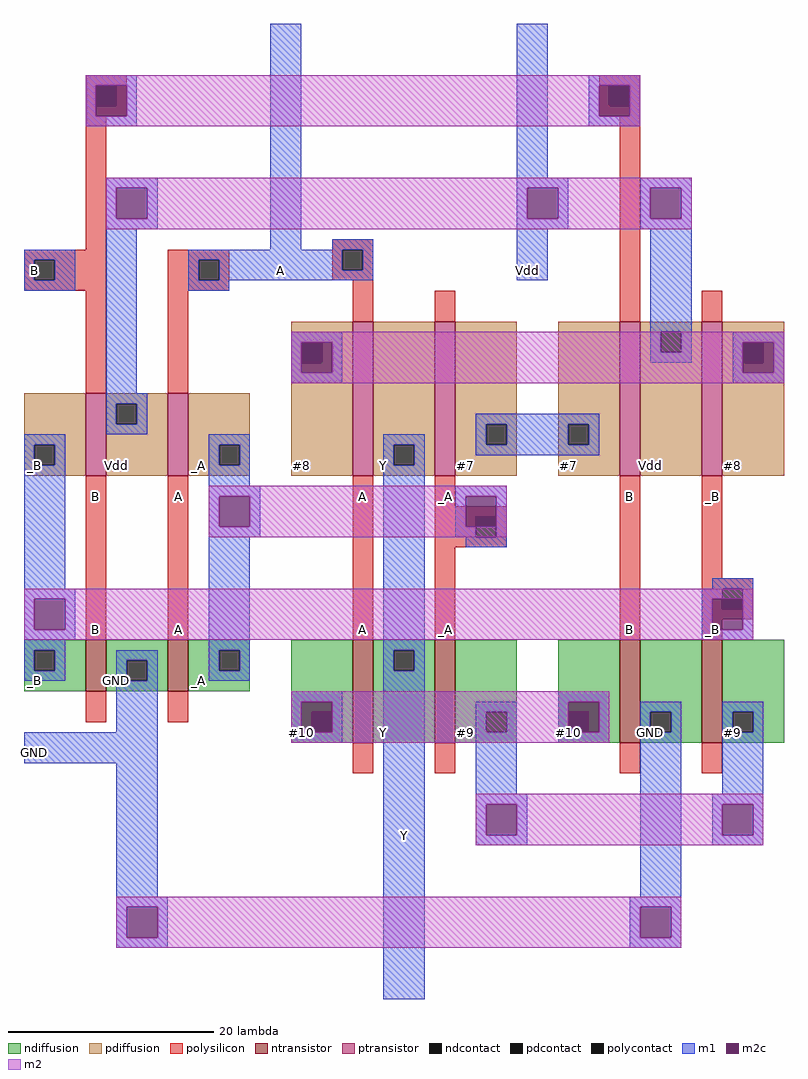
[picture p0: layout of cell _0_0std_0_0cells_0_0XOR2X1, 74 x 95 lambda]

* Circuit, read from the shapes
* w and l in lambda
.subckt _0_0std_0_0cells_0_0XOR2X1 Vdd
M1 GND B _B VSUBS nfet w=5 l=2
M2 _A A GND VSUBS nfet w=5 l=2
M3 Y A #10 VSUBS nfet w=10 l=2
M4 #9 _A Y VSUBS nfet w=10 l=2
M5 GND B #10 VSUBS nfet w=10 l=2
M6 #9 _B GND VSUBS nfet w=10 l=2
M7 Vdd B _B NWELL pfet w=8 l=2
M8 _A A Vdd NWELL pfet w=8 l=2
M9 Y A #8 NWELL pfet w=15 l=2
M10 #7 _A Y NWELL pfet w=15 l=2
M11 Vdd B #7 NWELL pfet w=15 l=2
M12 #8 _B Vdd NWELL pfet w=15 l=2
.ends

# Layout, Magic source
magic
tech TSMC180
<< ndiffusion >>
rect 6 21 12 22
rect 6 19 7 21
rect 9 19 12 21
rect 6 17 12 19
rect 14 20 20 22
rect 14 18 16 20
rect 18 18 20 20
rect 14 17 20 18
rect 22 21 28 22
rect 22 19 25 21
rect 27 19 28 21
rect 22 17 28 19
rect 32 15 38 22
rect 32 13 34 15
rect 36 13 38 15
rect 32 12 38 13
rect 40 21 46 22
rect 40 19 42 21
rect 44 19 46 21
rect 40 12 46 19
rect 48 15 54 22
rect 48 13 51 15
rect 53 13 54 15
rect 48 12 54 13
rect 58 15 64 22
rect 58 13 59 15
rect 61 13 64 15
rect 58 12 64 13
rect 66 15 72 22
rect 66 13 67 15
rect 69 13 72 15
rect 66 12 72 13
rect 74 15 80 22
rect 74 13 75 15
rect 77 13 80 15
rect 74 12 80 13
<< ndcontact >>
rect 7 19 9 21
rect 16 18 18 20
rect 25 19 27 21
rect 34 13 36 15
rect 42 19 44 21
rect 51 13 53 15
rect 59 13 61 15
rect 67 13 69 15
rect 75 13 77 15
<< ntransistor >>
rect 12 17 14 22
rect 20 17 22 22
rect 38 12 40 22
rect 46 12 48 22
rect 64 12 66 22
rect 72 12 74 22
<< pdiffusion >>
rect 32 51 38 53
rect 32 49 33 51
rect 35 49 38 51
rect 6 41 12 46
rect 6 39 7 41
rect 9 39 12 41
rect 6 38 12 39
rect 14 45 20 46
rect 14 43 15 45
rect 17 43 20 45
rect 14 38 20 43
rect 22 41 28 46
rect 22 39 25 41
rect 27 39 28 41
rect 22 38 28 39
rect 32 38 38 49
rect 40 41 46 53
rect 40 39 42 41
rect 44 39 46 41
rect 40 38 46 39
rect 48 43 54 53
rect 48 41 51 43
rect 53 41 54 43
rect 48 38 54 41
rect 58 43 64 53
rect 58 41 59 43
rect 61 41 64 43
rect 58 38 64 41
rect 66 52 72 53
rect 66 50 68 52
rect 70 50 72 52
rect 66 38 72 50
rect 74 51 80 53
rect 74 49 76 51
rect 78 49 80 51
rect 74 38 80 49
<< pdcontact >>
rect 33 49 35 51
rect 7 39 9 41
rect 15 43 17 45
rect 25 39 27 41
rect 42 39 44 41
rect 51 41 53 43
rect 59 41 61 43
rect 68 50 70 52
rect 76 49 78 51
<< ptransistor >>
rect 12 38 14 46
rect 20 38 22 46
rect 38 38 40 53
rect 46 38 48 53
rect 64 38 66 53
rect 72 38 74 53
<< polysilicon >>
rect 12 76 16 77
rect 12 74 13 76
rect 15 74 16 76
rect 12 73 16 74
rect 62 76 66 77
rect 62 74 63 76
rect 65 74 66 76
rect 62 73 66 74
rect 12 60 14 73
rect 36 60 40 61
rect 6 59 14 60
rect 6 57 7 59
rect 9 57 14 59
rect 6 56 14 57
rect 12 46 14 56
rect 20 59 26 60
rect 20 57 23 59
rect 25 57 26 59
rect 36 58 37 60
rect 39 58 40 60
rect 36 57 40 58
rect 20 56 26 57
rect 20 46 22 56
rect 38 53 40 57
rect 46 53 48 56
rect 64 53 66 73
rect 72 53 74 56
rect 12 22 14 38
rect 20 22 22 38
rect 38 22 40 38
rect 46 35 48 38
rect 46 34 53 35
rect 46 32 50 34
rect 52 32 53 34
rect 46 31 53 32
rect 46 22 48 31
rect 64 22 66 38
rect 72 28 74 38
rect 72 27 77 28
rect 72 25 74 27
rect 76 25 77 27
rect 72 24 77 25
rect 72 22 74 24
rect 12 14 14 17
rect 20 14 22 17
rect 38 9 40 12
rect 46 9 48 12
rect 64 9 66 12
rect 72 9 74 12
<< polycontact >>
rect 13 74 15 76
rect 63 74 65 76
rect 7 57 9 59
rect 23 57 25 59
rect 37 58 39 60
rect 50 32 52 34
rect 74 25 76 27
<< m1 >>
rect 12 76 17 77
rect 12 73 13 76
rect 16 73 17 76
rect 12 72 17 73
rect 14 66 19 67
rect 14 63 15 66
rect 18 63 19 66
rect 14 62 19 63
rect 6 59 11 60
rect 6 57 7 59
rect 9 57 11 59
rect 6 56 11 57
rect 14 46 17 62
rect 30 60 33 82
rect 54 67 57 82
rect 61 76 66 77
rect 61 73 62 76
rect 65 73 66 76
rect 61 72 66 73
rect 54 66 59 67
rect 54 63 55 66
rect 58 63 59 66
rect 54 62 59 63
rect 66 66 71 67
rect 66 63 67 66
rect 70 63 71 66
rect 66 62 71 63
rect 36 60 40 61
rect 22 59 37 60
rect 22 57 23 59
rect 25 58 37 59
rect 39 58 40 60
rect 25 57 40 58
rect 54 57 57 62
rect 22 56 26 57
rect 67 52 71 62
rect 32 51 37 52
rect 32 48 33 51
rect 36 48 37 51
rect 67 50 68 52
rect 70 50 71 52
rect 67 49 71 50
rect 75 51 80 52
rect 32 47 37 48
rect 75 48 76 51
rect 79 48 80 51
rect 75 47 80 48
rect 14 45 18 46
rect 14 43 15 45
rect 17 43 18 45
rect 14 42 18 43
rect 50 43 62 44
rect 6 41 10 42
rect 6 39 7 41
rect 9 39 10 41
rect 6 27 10 39
rect 24 41 28 42
rect 24 39 25 41
rect 27 39 28 41
rect 24 37 28 39
rect 41 41 45 42
rect 41 39 42 41
rect 44 39 45 41
rect 50 41 51 43
rect 53 41 59 43
rect 61 41 62 43
rect 50 40 62 41
rect 24 36 29 37
rect 24 33 25 36
rect 28 33 29 36
rect 24 32 29 33
rect 6 26 11 27
rect 6 23 7 26
rect 10 23 11 26
rect 6 22 11 23
rect 6 21 10 22
rect 24 21 28 32
rect 6 19 7 21
rect 9 19 10 21
rect 6 18 10 19
rect 15 20 19 21
rect 15 18 16 20
rect 18 18 19 20
rect 24 19 25 21
rect 27 19 28 21
rect 24 18 28 19
rect 41 21 45 39
rect 48 36 53 37
rect 48 33 49 36
rect 48 32 50 33
rect 52 32 53 36
rect 49 31 53 32
rect 73 27 77 28
rect 72 26 74 27
rect 72 23 73 26
rect 76 23 77 27
rect 72 22 77 23
rect 41 19 42 21
rect 44 19 45 21
rect 15 13 19 18
rect 6 10 19 13
rect 32 16 37 17
rect 32 13 33 16
rect 36 13 37 16
rect 32 12 37 13
rect 15 -3 19 10
rect 15 -4 20 -3
rect 15 -7 16 -4
rect 19 -7 20 -4
rect 15 -8 20 -7
rect 41 -13 45 19
rect 58 16 63 17
rect 50 15 54 16
rect 50 13 51 15
rect 53 13 54 15
rect 50 7 54 13
rect 58 13 59 16
rect 62 13 63 16
rect 58 12 63 13
rect 66 15 70 16
rect 66 13 67 15
rect 69 13 70 15
rect 50 6 55 7
rect 50 3 51 6
rect 54 3 55 6
rect 50 2 55 3
rect 66 -3 70 13
rect 74 15 78 16
rect 74 13 75 15
rect 77 13 78 15
rect 74 7 78 13
rect 73 6 78 7
rect 73 3 74 6
rect 77 3 78 6
rect 73 2 78 3
rect 65 -4 70 -3
rect 65 -7 66 -4
rect 69 -7 70 -4
rect 65 -8 70 -7
<< m2c >>
rect 13 74 15 76
rect 15 74 16 76
rect 13 73 16 74
rect 15 63 18 66
rect 62 74 63 76
rect 63 74 65 76
rect 62 73 65 74
rect 55 63 58 66
rect 67 63 70 66
rect 33 49 35 51
rect 35 49 36 51
rect 33 48 36 49
rect 76 49 78 51
rect 78 49 79 51
rect 76 48 79 49
rect 25 33 28 36
rect 7 23 10 26
rect 49 34 52 36
rect 49 33 50 34
rect 50 33 52 34
rect 73 25 74 26
rect 74 25 76 26
rect 73 23 76 25
rect 33 15 36 16
rect 33 13 34 15
rect 34 13 36 15
rect 16 -7 19 -4
rect 59 15 62 16
rect 59 13 61 15
rect 61 13 62 15
rect 51 3 54 6
rect 74 3 77 6
rect 66 -7 69 -4
<< m2 >>
rect 12 76 66 77
rect 12 73 13 76
rect 16 73 62 76
rect 65 73 66 76
rect 12 72 66 73
rect 14 66 71 67
rect 14 63 15 66
rect 18 63 55 66
rect 58 63 67 66
rect 70 63 71 66
rect 14 62 71 63
rect 32 51 80 52
rect 32 48 33 51
rect 36 48 76 51
rect 79 48 80 51
rect 32 47 80 48
rect 24 36 53 37
rect 24 33 25 36
rect 28 33 49 36
rect 52 33 53 36
rect 24 32 53 33
rect 6 26 77 27
rect 6 23 7 26
rect 10 23 73 26
rect 76 23 77 26
rect 6 22 77 23
rect 32 16 63 17
rect 32 13 33 16
rect 36 13 59 16
rect 62 13 63 16
rect 32 12 63 13
rect 50 6 78 7
rect 50 3 51 6
rect 54 3 74 6
rect 77 3 78 6
rect 50 2 78 3
rect 15 -4 70 -3
rect 15 -7 16 -4
rect 19 -7 66 -4
rect 69 -7 70 -4
rect 15 -8 70 -7
<< labels >>
rlabel ndiffusion 23 18 23 18 3 _A
rlabel pdiffusion 23 39 23 39 3 _A
rlabel polysilicon 21 23 21 23 3 A
rlabel polysilicon 21 36 21 36 3 A
rlabel ndiffusion 15 18 15 18 3 GND
rlabel pdiffusion 15 39 15 39 3 Vdd
rlabel polysilicon 13 23 13 23 3 B
rlabel polysilicon 13 36 13 36 3 B
rlabel ndiffusion 7 18 7 18 3 _B
rlabel pdiffusion 7 39 7 39 3 _B
rlabel ndiffusion 49 13 49 13 3 #9
rlabel pdiffusion 49 39 49 39 3 #7
rlabel polysilicon 47 23 47 23 3 _A
rlabel polysilicon 47 36 47 36 3 _A
rlabel ndiffusion 41 13 41 13 3 Y
rlabel pdiffusion 41 39 41 39 3 Y
rlabel polysilicon 39 23 39 23 3 A
rlabel polysilicon 39 36 39 36 3 A
rlabel ndiffusion 33 13 33 13 3 #10
rlabel pdiffusion 33 39 33 39 3 #8
rlabel ndiffusion 75 13 75 13 3 #9
rlabel pdiffusion 75 39 75 39 3 #8
rlabel polysilicon 73 23 73 23 3 _B
rlabel polysilicon 73 36 73 36 3 _B
rlabel ndiffusion 67 13 67 13 3 GND
rlabel pdiffusion 67 39 67 39 3 Vdd
rlabel polysilicon 65 23 65 23 3 B
rlabel polysilicon 65 36 65 36 3 B
rlabel ndiffusion 59 13 59 13 3 #10
rlabel pdiffusion 59 39 59 39 3 #7
rlabel m1 55 58 55 58 3 Vdd
port 2 e
rlabel m1 7 58 7 58 4 B
rlabel m1 31 58 31 58 5 A
rlabel m1 43 3 43 3 1 Y
rlabel m1 7 11 7 11 3 GND
<< end >>
